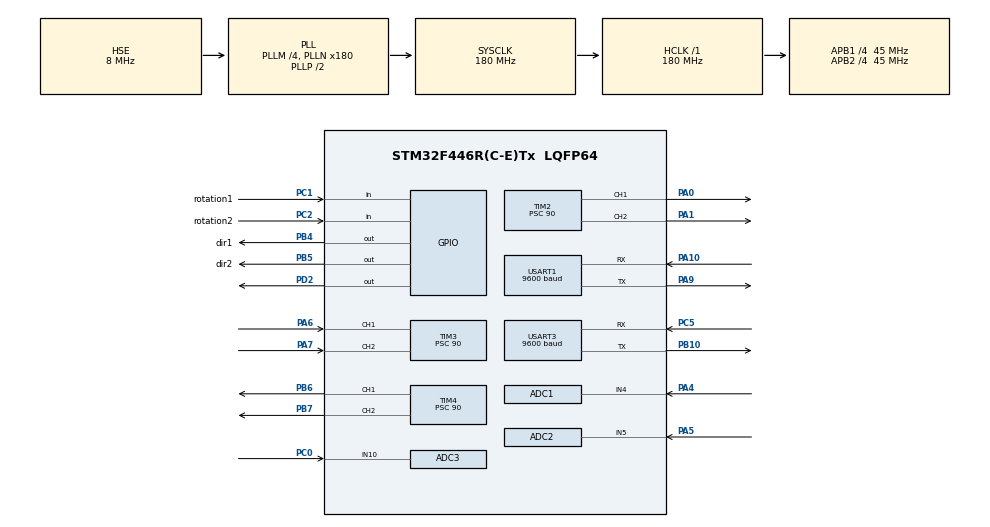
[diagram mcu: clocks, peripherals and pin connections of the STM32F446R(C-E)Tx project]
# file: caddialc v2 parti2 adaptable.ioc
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ADC1.Channel-1\#ChannelRegularConversion=ADC_CHANNEL_4
ADC1.ClockPrescaler=ADC_CLOCK_SYNC_PCLK_DIV8
ADC1.ContinuousConvMode=ENABLE
ADC1.NbrOfConversionFlag=1
ADC1.Rank-1\#ChannelRegularConversion=1
ADC1.SamplingTime-1\#ChannelRegularConversion=ADC_SAMPLETIME_56CYCLES
ADC1.master=1
ADC2.Channel-0\#ChannelRegularConversion=ADC_CHANNEL_5
ADC2.ClockPrescaler=ADC_CLOCK_SYNC_PCLK_DIV8
ADC2.ContinuousConvMode=ENABLE
ADC2.NbrOfConversionFlag=1
ADC2.Rank-0\#ChannelRegularConversion=1
ADC2.Resolution=ADC_RESOLUTION_12B
ADC2.SamplingTime-0\#ChannelRegularConversion=ADC_SAMPLETIME_144CYCLES
ADC3.Channel-0\#ChannelRegularConversion=ADC_CHANNEL_10
ADC3.ClockPrescaler=ADC_CLOCK_SYNC_PCLK_DIV8
ADC3.ContinuousConvMode=ENABLE
ADC3.NbrOfConversionFlag=1
ADC3.Rank-0\#ChannelRegularConversion=1
ADC3.SamplingTime-0\#ChannelRegularConversion=ADC_SAMPLETIME_112CYCLES
Mcu.Family=STM32F4
Mcu.Name=STM32F446R(C-E)Tx
Mcu.Package=LQFP64
NVIC.ADC_IRQn=true\:0\:0\:false\:false\:true\:true\:true\:true
NVIC.PriorityGroup=NVIC_PRIORITYGROUP_0
NVIC.TIM3_IRQn=true\:0\:1\:true\:false\:true\:true\:true\:true
NVIC.USART1_IRQn=true\:0\:0\:false\:false\:true\:true\:true\:true
NVIC.USART3_IRQn=true\:0\:0\:false\:false\:true\:true\:true\:true
PA0-WKUP.Signal=S_TIM2_CH1_ETR
PA1.Signal=S_TIM2_CH2
PA10.Mode=Asynchronous
PA10.Signal=USART1_RX
PA4.Signal=ADCx_IN4
PA5.Signal=ADCx_IN5
PA6.Signal=S_TIM3_CH1
PA7.Signal=S_TIM3_CH2
PA9.Mode=Asynchronous
PA9.Signal=USART1_TX
PB10.Mode=Asynchronous
PB10.Signal=USART3_TX
PB4.GPIO_Label=dir1
PB4.Signal=GPIO_Output
PB5.GPIO_Label=dir2
PB5.Signal=GPIO_Output
PB6.Signal=S_TIM4_CH1
PB7.Signal=S_TIM4_CH2
PC0.Signal=ADCx_IN10
PC1.GPIO_Label=rotation1
PC1.GPIO_PuPd=GPIO_PULLDOWN
PC1.Signal=GPIO_Input
PC2.GPIO_Label=rotation2
PC2.GPIO_PuPd=GPIO_PULLDOWN
PC2.Signal=GPIO_Input
PC5.Mode=Asynchronous
PC5.Signal=USART3_RX
PD2.Signal=GPIO_Output
PH0-OSC_IN.Mode=HSE-External-Oscillator
PH0-OSC_IN.Signal=RCC_OSC_IN
PH1-OSC_OUT.Mode=HSE-External-Oscillator
PH1-OSC_OUT.Signal=RCC_OSC_OUT
ProjectManager.HeapSize=0x200
ProjectManager.StackSize=0x400
ProjectManager.TargetToolchain=STM32CubeIDE
RCC.48MHZClocksFreq_Value=84000000
RCC.AHBFreq_Value=180000000
RCC.APB1CLKDivider=RCC_HCLK_DIV4
RCC.APB1Freq_Value=45000000
RCC.APB1TimFreq_Value=90000000
RCC.APB2CLKDivider=RCC_HCLK_DIV4
RCC.APB2Freq_Value=45000000
RCC.APB2TimFreq_Value=90000000
RCC.CortexFreq_Value=180000000
RCC.FLatency-AdvancedSettings=FLASH_LATENCY_5
RCC.HCLKFreq_Value=180000000
RCC.HSE_VALUE=8000000
RCC.HSI_VALUE=16000000
RCC.PLLM=4
RCC.PLLN=180
RCC.PLLSourceVirtual=RCC_PLLSOURCE_HSE
RCC.SYSCLKFreq_VALUE=180000000
RCC.SYSCLKSource=RCC_SYSCLKSOURCE_PLLCLK
RCC.USBFreq_Value=180000000
RCC.VCOOutputFreq_Value=360000000
SH.ADCx_IN10.0=ADC3_IN10,IN10
SH.ADCx_IN4.0=ADC1_IN4,IN4
SH.ADCx_IN5.0=ADC2_IN5,IN5
SH.S_TIM2_CH1_ETR.0=TIM2_CH1,PWM Generation1 CH1
SH.S_TIM2_CH2.0=TIM2_CH2,PWM Generation2 CH2
SH.S_TIM3_CH1.0=TIM3_CH1,Input_Capture1_from_TI1
SH.S_TIM3_CH2.0=TIM3_CH2,Input_Capture2_from_TI2
SH.S_TIM4_CH1.0=TIM4_CH1,PWM Generation1 CH1
SH.S_TIM4_CH2.0=TIM4_CH2,PWM Generation2 CH2
TIM2.Channel-PWM\ Generation1\ CH1=TIM_CHANNEL_1
TIM2.Channel-PWM\ Generation2\ CH2=TIM_CHANNEL_2
TIM2.Period=100
TIM2.Prescaler=90
TIM3.Channel-Input_Capture1_from_TI1=TIM_CHANNEL_1
TIM3.Channel-Input_Capture2_from_TI2=TIM_CHANNEL_2
TIM3.ClockDivision=TIM_CLOCKDIVISION_DIV2
TIM3.ICFilter_CH1=15
TIM3.ICFilter_CH2=12
TIM3.Prescaler=90
TIM4.Channel-PWM\ Generation1\ CH1=TIM_CHANNEL_1
TIM4.Channel-PWM\ Generation2\ CH2=TIM_CHANNEL_2
TIM4.Period=100
TIM4.Prescaler=90
USART1.BaudRate=9600
USART1.OverSampling=UART_OVERSAMPLING_8
USART1.VirtualMode=VM_ASYNC
USART3.BaudRate=9600
USART3.OverSampling=UART_OVERSAMPLING_8
USART3.VirtualMode=VM_ASYNC
VP_TIM2_VS_ClockSourceINT.Mode=Internal
VP_TIM4_VS_ClockSourceINT.Mode=Internal
board=NUCLEO-F446RE

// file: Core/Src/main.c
/* USER CODE BEGIN Header */
/**
  ******************************************************************************
  * @file           : main.c
  * @brief          : Main program body
  ******************************************************************************
  * @attention
  *
  * Copyright (c) 2024 STMicroelectronics.
  * All rights reserved.
  *
  * This software is licensed under terms that can be found in the LICENSE file
  * in the root directory of this software component.
  * If no LICENSE file comes with this software, it is provided AS-IS.
  *
  ******************************************************************************
  */
/* USER CODE END Header */
#include "main.h"
#include "adc.h"
#include "tim.h"
#include "usart.h"
#include "gpio.h"

/* USER CODE BEGIN Includes */
#include "interruption.h"
#include "asservissement.h"

/* USER CODE END Includes */

/* USER CODE BEGIN PTD */
#define frequencyM1     1000/(periodMotor1)    // FREQUENCE DU L ENCODEUR 1
#define frequencyM2     1000/(periodMotor2)    // FREQUENCE DU L ENCODEUR 2
/* USER CODE END PTD */

/* USER CODE BEGIN PV */
float speedMotor1=0;
float speedMotor2=0;
uint16_t periodMotor1=0;
uint16_t periodMotor2=0;
volatile float Is_First_Captured1=0;// VARIABLE POUR TESTER SILE FRONT MONTANT DU L ENCODEUR 1 EST DETECTE
volatile float Is_First_Captured2=0;// VARIABLE POUR TESTER SILE FRONT MONTANT DU L ENCODEUR 2 EST DETECTE
volatile int IC1_Val1=0;        //VARIABLE POUR STOCKER LA VALEUR DU  FRONT MONTANT DU L ENCODEUR 1
volatile int IC2_Val1=0;        //VARIABLE POUR STOCKER LA VALEUR DU  FRONT MONTANT DU L ENCODEUR 2
volatile int CountMR1=0; // NOMBRE D IMPULSION ENCODEUR1
volatile int CountMR2=0; // NOMBRE D IMPULSION ENCODEUR2
volatile float CourantR1;
volatile float CourantR2;
uint16_t buffer2[1];
uint16_t buffer3[2];
int sum=0;
float PWM_MEULE;
float moyenne=0;
int i=0;
uint8_t senddata[4] = {0x66, 0x42, 0x00,0xA8};//TX UART avec bldc
uint8_t trame[1];//RX UART from bldc
float CUR_MTMeule;
uint8_t senddataPOS_encour[1]={0x21};// 101 : 10 =ST2  et 1 cad ok
uint8_t Msgsenthold_ToST1[1]={0xF0};// 100 : 10 =ST2  et 0 cad nok
uint8_t MsgsentTerminé_ToST1[1]={44};// 100 : 10 =ST2  et 0 cad nok

uint8_t MsgrecuSt1[1];

int RawValueB;
int OffsetB;
float VoltageB;
float AmpCurrentB = 0;
uint16_t samples1[10];
float vitesse1_average=0;
uint32_t vitesse1_sum = 0;
uint16_t samples2[10];
float vitesse2_average=0;
uint32_t vitesse2_sum = 0;
float current;

uint16_t readValue1;
uint16_t readValue2;
uint16_t readValue3;

uint8_t seuil=0;

uint32_t temp=0;
float PWM_M;
uint8_t POSzero=0;
int j=0;
int pos1;
int pos2;
int readings[10];   // Tableau pour stocker les lectures précédentes
int compteur = 0;               // Index pour parcourir le tableau
int total = 0;               // Total des lectures
float average=0;

/* USER CODE END PV */

void SystemClock_Config(void);
/* USER CODE BEGIN PFP */
void moveroleauTo(int pos1, int pos2 );
float calculateMovingAverage(float newValue);
/* USER CODE END PFP */

/* USER CODE BEGIN 0 */
void HAL_TIM_IC_CaptureCallback(TIM_HandleTypeDef *htim)

{

	  if(htim->Instance==TIM3)

	  {

            if(htim->Channel == HAL_TIM_ACTIVE_CHANNEL_1)	//Roleau1

				{
				Interruption_1();

					if (Is_First_Captured1 == 0)
						{
							IC1_Val1=HAL_GetTick();
							Is_First_Captured1++;
						}
					else if (Is_First_Captured1 == 1)
						{
							periodMotor1 = HAL_GetTick()-IC1_Val1;//periode1
							if(periodMotor1>1)
							{
							  speedMotor1 = frequencyM1;
							}
							Is_First_Captured1 = 0;

						}

				}

	  		if(htim->Channel==HAL_TIM_ACTIVE_CHANNEL_2)//Roleau2
	  			  {
	  			     Interruption_2();

					   if (Is_First_Captured2 == 0)
						   {
								IC2_Val1=HAL_GetTick();
								Is_First_Captured2++;
						   }
						else if (Is_First_Captured2== 1)
							{
								periodMotor2 = HAL_GetTick()-IC2_Val1;//periode1periode1*0.5 both edge
							    if(periodMotor2>1)
							    {
								  speedMotor2 = frequencyM2;
								}
								Is_First_Captured2 = 0;

							}

					}

	  	}

}
void HAL_ADC_ConvCpltCallback(ADC_HandleTypeDef* hadc)
{
	HAL_ADC_Start_IT(&hadc3);
  	HAL_ADC_Start_IT(&hadc2);
    HAL_ADC_Start_IT(&hadc1);

	if(hadc->Instance==ADC1){
		readValue1 = HAL_ADC_GetValue (&hadc1);

	}if(hadc->Instance==ADC2){
		readValue2 = HAL_ADC_GetValue (&hadc2);
		VoltageB=(readValue2*3.3)/4095;
		current=(VoltageB-2.5)*10;
		 average = calculateMovingAverage(current);

	}if(hadc->Instance==ADC3){
		readValue3 = HAL_ADC_GetValue (&hadc3);

	}
}
void HAL_UART_RxCpltCallback(UART_HandleTypeDef *huart)
  {

	HAL_UART_Receive_IT(&huart1,MsgrecuSt1, 1);//recevoir 1 du stm1 pos xy alpha terminé;
	HAL_UART_Receive_IT(&huart3,trame, 1);//recevoir trame du bldc;
	//CUR_MTMeule=trame[0];

  }

void sendParameter()
  {

     HAL_UART_Transmit_IT(&huart3, senddata, 4);// send data to bldc
    HAL_Delay(150);
  }
void Mise_a_zero_encours()
  {

     HAL_UART_Transmit_IT(&huart1, senddataPOS_encour, 1);
     HAL_Delay(100);
  }

void sendholdTo_st1()
  {

     HAL_UART_Transmit_IT(&huart1, Msgsenthold_ToST1, 1);
     HAL_Delay(100);
  }
void sendterminé_st1()
  {

     HAL_UART_Transmit_IT(&huart1, MsgsentTerminé_ToST1, 1);
     HAL_Delay(100);
  }
void zero(){
	 if ( MsgrecuSt1[0] == 0x1F)//
		      {

		    	   while(CountMR1<630 || CountMR2<660)
		    		{

		    		   if(CountMR2<660)//510
						  {
		    			 HAL_GPIO_WritePin(GPIOB, dir2_Pin, GPIO_PIN_RESET);
							  TIM2->CCR1 = 100;
						  } else
						  {
							  TIM2->CCR1= 0;

						  }

		    		   if(CountMR1<630)
						  {
		       	    	HAL_GPIO_WritePin(GPIOB,  dir1_Pin, GPIO_PIN_RESET);

							  TIM2->CCR2 = 100;
						  } else
						  {
							  TIM2->CCR2= 0;

						  }

		    		}
		    	   if(CountMR1>=630)
					  {
		    		   TIM2->CCR2= 0;
					  }
		    	   if(CountMR2>=660)
					  {
					   TIM2->CCR1= 0;
					  }

			       TIM4->CCR1=42;
                   HAL_Delay(3000);

		    	   Mise_a_zero_encours();// send 0X21 to st1 pour  avancer 1mm

		 }

	 while((MsgrecuSt1[0] ==0x11) && trame[0]<(seuil+3))// si POS ST1 AVANCEE 1 MM EST TERMINe
	      {
	 		   pos1=CountMR1-8;
	 		   pos2=CountMR2-8;
	 		   moveroleauTo(pos1,pos2);// RECULER LES R 1MM

	      }
	 	if( trame[0]>=(seuil+3)){
	 		sendholdTo_st1();//HOLD send 4
	 		TIM4->CCR1=36;
	 		TIM2->CCR1 = 0;
	 		TIM2->CCR2 = 0;

	 	 }

}

void moveroleauTo(int pos1, int pos2) {
	while (((pos1 != CountMR1) || (pos2 != CountMR2))&& trame[0]<(seuil+3)) {
		// Mouvement pour le vérin 2
		if (pos2 > CountMR2) {
			HAL_GPIO_WritePin(GPIOB, dir1_Pin, GPIO_PIN_RESET); // Avancer
			TIM2->CCR1 = 50;
		} else if (pos2 < CountMR2) {
			HAL_GPIO_WritePin(GPIOB, dir1_Pin, GPIO_PIN_SET); // Reculer
			TIM2->CCR1 = 50;
		} else {
			TIM2->CCR1 = 0; // Arrêter
		}

		// Mouvement pour le vérin 1
		if (pos1 > CountMR1) {
			HAL_GPIO_WritePin(GPIOB, dir2_Pin, GPIO_PIN_RESET); // Avancer
			TIM2->CCR2 = 50;
		} else if (pos1 < CountMR1) {
			HAL_GPIO_WritePin(GPIOB, dir2_Pin, GPIO_PIN_SET); // Reculer
			TIM2->CCR2 = 50;
		} else {
			TIM2->CCR2 = 0; // Arrêter
		}
	}

	// Arrêter les vérins une fois qu'ils ont atteint leur position cible

	if (pos1 == CountMR1) {
		TIM2->CCR2 = 0;
	}
	if (pos2 == CountMR2) {
		TIM2->CCR1 = 0;

	}
}
float calculateMovingAverage(float newValue) {
  // Soustraire la lecture la plus ancienne
  total = total - readings[compteur];
  // Stocker la nouvelle lecture dans le tableau
  readings[compteur] = newValue;
  // Ajouter la nouvelle lecture au total
  total = total + newValue;
  // Incrémenter l'index en boucle
  compteur = (compteur + 1) % 10;
  // Calculer la moyenne mobile

  return total / (float)10;
}

/* USER CODE END 0 */

int main(void)
{

  /* MCU Configuration--------------------------------------------------------*/

  /* Reset of all peripherals, Initializes the Flash interface and the Systick. */
  HAL_Init();

  /* Configure the system clock */
  SystemClock_Config();

  /* Initialize all configured peripherals */
  MX_GPIO_Init();
  MX_ADC1_Init();
  MX_ADC2_Init();
  MX_ADC3_Init();
  MX_TIM2_Init();
  MX_TIM3_Init();
  MX_TIM4_Init();
  MX_USART1_UART_Init();
  MX_USART3_UART_Init();
  /* USER CODE BEGIN 2 */
  //moteur1
    	HAL_TIM_IC_Start_IT(&htim3, TIM_CHANNEL_1);//
    	//moteur2
    	HAL_TIM_IC_Start_IT(&htim3, TIM_CHANNEL_2);//

    	HAL_TIM_PWM_Start(&htim2, TIM_CHANNEL_1);//MTr1
    	HAL_TIM_PWM_Start(&htim2, TIM_CHANNEL_2);//MTr2

    	HAL_TIM_PWM_Start(&htim4, TIM_CHANNEL_1);//MTMEULE
    	HAL_TIM_PWM_Start(&htim4, TIM_CHANNEL_2);//MTDSE

    HAL_UART_Receive_IT(&huart1,MsgrecuSt1, 1);//sizeof(buffer));
	HAL_UART_Receive_IT(&huart3,trame, 1);//sizeof(buffer));
  	//HAL_ADC_Start_IT(&hadc1);
  	HAL_ADC_Start_IT(&hadc2);
  	//HAL_ADC_Start_IT(&hadc3);
	      TIM4->CCR1=36;
		  HAL_Delay(1000);

		  TIM4->CCR1=42;
		  HAL_Delay(4000);
	      seuil=trame[0];
		  TIM4->CCR1=36;

  /* USER CODE END 2 */

  /* Infinite loop */
  while (1)
  {

    /* USER CODE BEGIN 3 */

	 zero();
	 pos1=CountMR1+10;
	 pos2=CountMR2+10;
	//

	while(MsgrecuSt1[0]==0xF0){
		moveroleauTo(pos1, pos2);

		 //  HAL_Delay(8000);
		  // TIM4->CCR1=55;

// process of grinding

	}
  }
  /* USER CODE END 3 */
}

void SystemClock_Config(void)
{
  RCC_OscInitTypeDef RCC_OscInitStruct = {0};
  RCC_ClkInitTypeDef RCC_ClkInitStruct = {0};

  /** Configure the main internal regulator output voltage
  */
  __HAL_RCC_PWR_CLK_ENABLE();
  __HAL_PWR_VOLTAGESCALING_CONFIG(PWR_REGULATOR_VOLTAGE_SCALE1);

  /** Initializes the RCC Oscillators according to the specified parameters
  * in the RCC_OscInitTypeDef structure.
  */
  RCC_OscInitStruct.OscillatorType = RCC_OSCILLATORTYPE_HSE;
  RCC_OscInitStruct.HSEState = RCC_HSE_ON;
  RCC_OscInitStruct.PLL.PLLState = RCC_PLL_ON;
  RCC_OscInitStruct.PLL.PLLSource = RCC_PLLSOURCE_HSE;
  RCC_OscInitStruct.PLL.PLLM = 4;
  RCC_OscInitStruct.PLL.PLLN = 180;
  RCC_OscInitStruct.PLL.PLLP = RCC_PLLP_DIV2;
  RCC_OscInitStruct.PLL.PLLQ = 2;
  RCC_OscInitStruct.PLL.PLLR = 2;
  if (HAL_RCC_OscConfig(&RCC_OscInitStruct) != HAL_OK)
  {
    Error_Handler();
  }

  /** Activate the Over-Drive mode
  */
  if (HAL_PWREx_EnableOverDrive() != HAL_OK)
  {
    Error_Handler();
  }

  /** Initializes the CPU, AHB and APB buses clocks
  */
  RCC_ClkInitStruct.ClockType = RCC_CLOCKTYPE_HCLK|RCC_CLOCKTYPE_SYSCLK
                              |RCC_CLOCKTYPE_PCLK1|RCC_CLOCKTYPE_PCLK2;
  RCC_ClkInitStruct.SYSCLKSource = RCC_SYSCLKSOURCE_PLLCLK;
  RCC_ClkInitStruct.AHBCLKDivider = RCC_SYSCLK_DIV1;
  RCC_ClkInitStruct.APB1CLKDivider = RCC_HCLK_DIV4;
  RCC_ClkInitStruct.APB2CLKDivider = RCC_HCLK_DIV4;

  if (HAL_RCC_ClockConfig(&RCC_ClkInitStruct, FLASH_LATENCY_5) != HAL_OK)
  {
    Error_Handler();
  }
}

void Error_Handler(void)
{
  __disable_irq();
  while (1)
  {
  }
}
